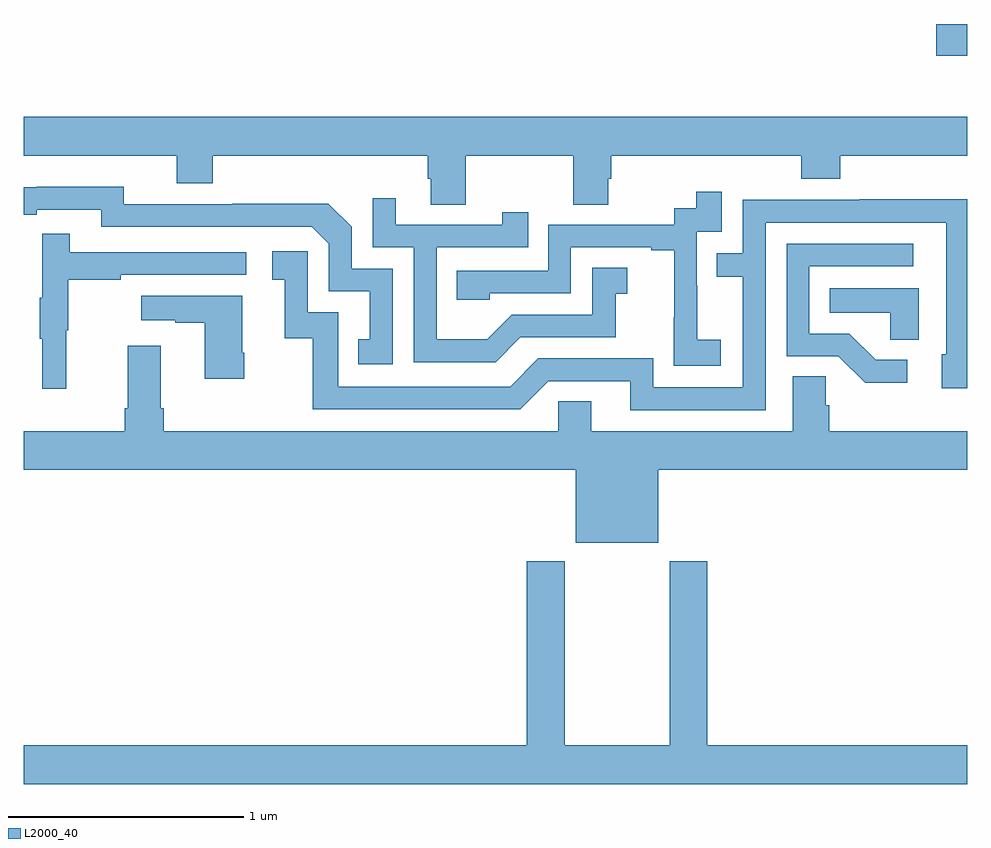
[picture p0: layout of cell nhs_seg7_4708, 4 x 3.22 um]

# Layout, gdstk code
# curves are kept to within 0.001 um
import gdstk
lib = gdstk.Library(unit=1e-6, precision=1e-09)
def R(c, l, rs):  # rectangles x0, y0, x1, y1
    for r in rs: c.add(gdstk.rectangle(r[:2], r[2:], *l))
def P(c, l, *ps):  # polygons
    for p in ps: c.add(gdstk.Polygon(p, *l))
L2000_40 = (2000, 40)

nhs_seg7_4708 = lib.new_cell('nhs_seg7_4708')
R(nhs_seg7_4708, L2000_40, [(410.868,1031.675,411,1031.81)])
P(nhs_seg7_4708, L2000_40, [(408.873,1031.252),(409.33,1031.252),(409.33,1031.044),(409.477,1031.044),(409.477,1031.154),(409.49,1031.154),(409.49,1031.252),(410.297,1031.252),(410.297,1031.153),(410.462,1031.153),(410.462,1031.252),(411,1031.252),(411,1031.416),(407,1031.416),(407,1031.252),(407.648,1031.252),(407.648,1031.135),(407.801,1031.135),(407.801,1031.252),(408.713,1031.252),(408.713,1031.154),(408.725,1031.154),(408.725,1031.044),(408.873,1031.044)],
  [(408.564,1030.773),(408.39,1030.773),(408.39,1030.95),(408.292,1031.048),(407.884,1031.048),(407.884,1031.046),(407.424,1031.046),(407.424,1031.119),(407,1031.118),(407,1031.002),(407.056,1031.002),(407.056,1031.022),(407.328,1031.022),(407.328,1030.95),(408.222,1030.95),(408.294,1030.878),(408.294,1030.677),(408.467,1030.677),(408.467,1030.473),(408.418,1030.473),(408.418,1030.368),(408.564,1030.368)],
  [(409.954,1030.471),(409.856,1030.471),(409.856,1030.7),(409.854,1030.7),(409.854,1030.929),(409.959,1030.929),(409.959,1031.098),(409.851,1031.098),(409.851,1031.028),(409.758,1031.028),(409.758,1030.959),(409.224,1030.959),(409.224,1030.764),(408.835,1030.764),(408.835,1030.641),(408.975,1030.641),(408.975,1030.668),(409.32,1030.668),(409.32,1030.863),(409.661,1030.863),(409.661,1030.851),(409.757,1030.851),(409.757,1030.567),(409.756,1030.567),(409.756,1030.361),(409.954,1030.361)],
  [(409.105,1030.482),(409.509,1030.482),(409.509,1030.667),(409.558,1030.667),(409.558,1030.777),(409.41,1030.777),(409.41,1030.578),(409.068,1030.578),(408.964,1030.474),(408.75,1030.474),(408.75,1030.863),(409.139,1030.863),(409.139,1031.011),(409.028,1031.011),(409.028,1030.959),(408.577,1030.959),(408.577,1031.071),(408.48,1031.071),(408.48,1030.863),(408.654,1030.863),(408.654,1030.377),(409,1030.377)],
  [(410.145,1030.968),(410.91,1030.968),(410.91,1030.41),(410.891,1030.41),(410.891,1030.266),(411,1030.266),(411,1031.066),(410.545,1031.066),(410.545,1031.064),(410.049,1031.064),(410.049,1030.839),(409.939,1030.839),(409.939,1030.738),(410.049,1030.738),(410.049,1030.269),(409.668,1030.269),(409.668,1030.392),(409.182,1030.392),(409.062,1030.272),(408.333,1030.272),(408.333,1030.587),(408.204,1030.587),(408.204,1030.846),(408.054,1030.846),(408.054,1030.725),(408.107,1030.725),(408.107,1030.478),(408.225,1030.478),(408.225,1030.176),(409.104,1030.176),(409.224,1030.296),(409.571,1030.296),(409.571,1030.173),(410.145,1030.173)],
  [(407.18,1030.512),(407.188,1030.512),(407.188,1030.726),(407.411,1030.726),(407.411,1030.746),(407.944,1030.746),(407.944,1030.842),(407.195,1030.842),(407.195,1030.921),(407.078,1030.921),(407.078,1030.649),(407.067,1030.649),(407.067,1030.475),(407.078,1030.475),(407.078,1030.263),(407.18,1030.263)],
  [(410.746,1030.386),(410.611,1030.386),(410.5,1030.497),(410.331,1030.497),(410.331,1030.782),(410.77,1030.782),(410.77,1030.878),(410.235,1030.878),(410.235,1030.401),(410.454,1030.401),(410.567,1030.289),(410.746,1030.289)],
  [(410.794,1030.69),(410.416,1030.69),(410.416,1030.586),(410.673,1030.586),(410.673,1030.471),(410.794,1030.471)],
  [(407.934,1030.417),(407.926,1030.417),(407.926,1030.657),(407.499,1030.657),(407.499,1030.553),(407.642,1030.553),(407.642,1030.543),(407.768,1030.543),(407.768,1030.305),(407.934,1030.305)],
  [(409.69,1029.92),(411,1029.92),(411,1030.084),(410.414,1030.084),(410.414,1030.193),(410.4,1030.193),(410.4,1030.316),(410.261,1030.316),(410.261,1030.084),(409.405,1030.084),(409.405,1030.211),(409.266,1030.211),(409.266,1030.084),(407.594,1030.084),(407.594,1030.18),(407.581,1030.18),(407.581,1030.447),(407.441,1030.447),(407.441,1030.18),(407.429,1030.18),(407.429,1030.084),(407,1030.084),(407,1029.92),(409.34,1029.92),(409.34,1029.611),(409.69,1029.611)],
  [(411,1028.752),(409.898,1028.752),(409.898,1029.532),(409.738,1029.532),(409.738,1028.752),(409.293,1028.752),(409.293,1029.532),(409.133,1029.532),(409.133,1028.752),(407,1028.752),(407,1028.588),(411,1028.588)])

lib.write_gds('nhs_seg7_4708.gds')
